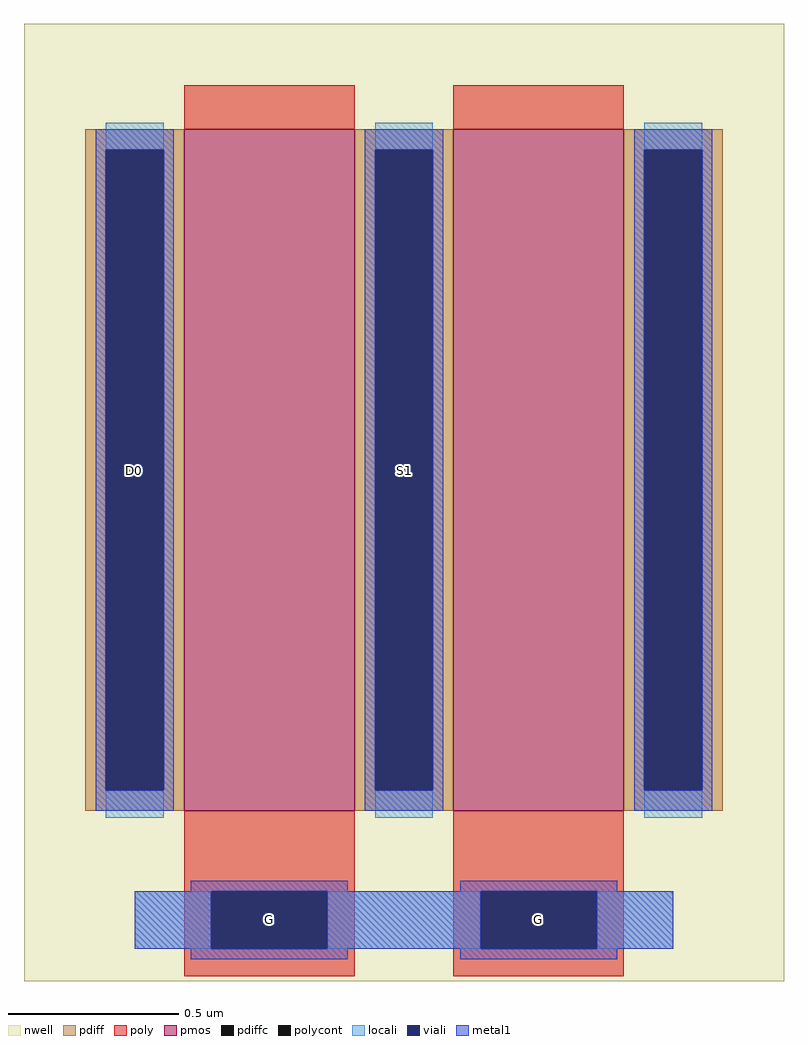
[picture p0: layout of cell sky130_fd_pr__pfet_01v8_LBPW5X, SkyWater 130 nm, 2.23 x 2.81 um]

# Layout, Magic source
magic
tech sky130A
magscale 1 2
<< nwell >>
rect -223 -264 223 298
<< pmos >>
rect -129 -164 -29 236
rect 29 -164 129 236
<< pdiff >>
rect -187 224 -129 236
rect -187 -152 -175 224
rect -141 -152 -129 224
rect -187 -164 -129 -152
rect -29 224 29 236
rect -29 -152 -17 224
rect 17 -152 29 224
rect -29 -164 29 -152
rect 129 224 187 236
rect 129 -152 141 224
rect 175 -152 187 224
rect 129 -164 187 -152
<< pdiffc >>
rect -175 -152 -141 224
rect -17 -152 17 224
rect 141 -152 175 224
<< poly >>
rect -129 236 -29 262
rect 29 236 129 262
rect -129 -211 -29 -164
rect -129 -245 -113 -211
rect -45 -245 -29 -211
rect -129 -261 -29 -245
rect 29 -211 129 -164
rect 29 -245 45 -211
rect 113 -245 129 -211
rect 29 -261 129 -245
<< polycont >>
rect -113 -245 -45 -211
rect 45 -245 113 -211
<< locali >>
rect -175 224 -141 240
rect -175 -168 -141 -152
rect -17 224 17 240
rect -17 -168 17 -152
rect 141 224 175 240
rect 141 -168 175 -152
rect -158 -245 -113 -211
rect -45 -245 45 -211
rect 113 -245 158 -211
<< viali >>
rect -175 -152 -141 224
rect -17 -152 17 224
rect 141 -152 175 224
rect -113 -245 -45 -211
rect 45 -245 113 -211
<< metal1 >>
rect -181 224 -135 236
rect -181 -152 -175 224
rect -141 -152 -135 224
rect -181 -164 -135 -152
rect -23 224 23 236
rect -23 -152 -17 224
rect 17 -152 23 224
rect -23 -164 23 -152
rect 135 224 181 236
rect 135 -152 141 224
rect 175 -152 181 224
rect 135 -164 181 -152
rect -125 -211 -33 -205
rect 33 -211 125 -205
rect -158 -245 -113 -211
rect -45 -245 45 -211
rect 113 -245 158 -211
rect -125 -251 -33 -245
rect 33 -251 125 -245
<< labels >>
rlabel pdiffc -158 36 -158 36 0 D0
port 1 nsew
rlabel polycont -79 -228 -79 -228 0 G
port 2 nsew
rlabel pdiffc 0 36 0 36 0 S1
port 3 nsew
rlabel polycont 79 -228 79 -228 0 G
port 2 nsew
<< properties >>
string gencell sky130_fd_pr__pfet_01v8
string library sky130
string parameters w 2 l 0.5 m 1 nf 2 diffcov 100 polycov 100 guard 0 glc 1 grc 1 gtc 1 gbc 1 tbcov 100 rlcov 100 topc 0 botc 1 poverlap 0 doverlap 1 lmin 0.15 wmin 0.42 class mosfet compatible {sky130_fd_pr__pfet_01v8  sky130_fd_pr__pfet_01v8_lvt sky130_fd_pr__pfet_01v8_hvt  sky130_fd_pr__pfet_g5v0d10v5} full_metal 1 conn_gates 1 viasrc 100 viadrn 100 viagate 100 viagb 0 viagr 0 viagl 0 viagt 0 doports 1
<< end >>
